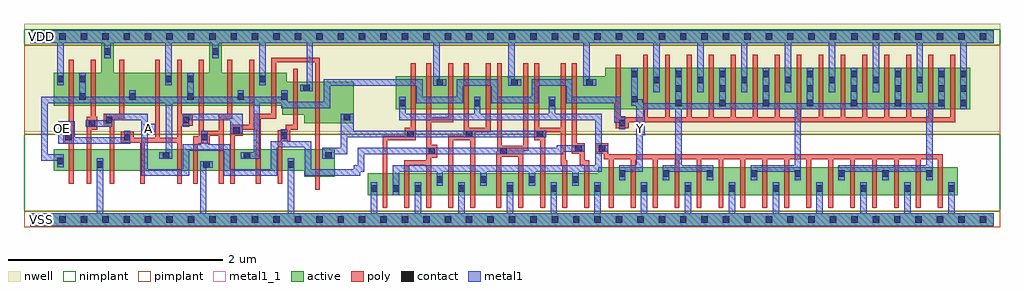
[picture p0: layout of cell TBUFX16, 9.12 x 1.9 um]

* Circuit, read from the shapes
.subckt TBUFX16 A OE VDD VSS Y
M1 n1 OE n2 VSS nfet w=0.205u l=0.045u
M2 VSS A n1 VSS nfet w=0.205u l=0.045u
M3 n3 A VSS VSS nfet w=0.205u l=0.045u
M4 n2 OE n3 VSS nfet w=0.205u l=0.045u
M5 n4 OE n2 VSS nfet w=0.205u l=0.045u
M6 VSS A n4 VSS nfet w=0.205u l=0.045u
M7 n5 A VSS VSS nfet w=0.205u l=0.045u
M8 n2 OE n5 VSS nfet w=0.205u l=0.045u
M9 n6 OE n2 VSS nfet w=0.205u l=0.045u
M10 VSS A n6 VSS nfet w=0.205u l=0.045u
M11 n7 OE VSS VSS nfet w=0.26u l=0.045u
M12 n8 n7 VSS VSS nfet w=0.205u l=0.045u m=5
M13 VSS A n8 VSS nfet w=0.205u l=0.045u m=5
M14 Y n8 VSS VSS nfet w=0.26u l=0.045u m=16
M15 n2 OE VDD VDD pfet w=0.31u l=0.045u m=5
M16 VDD A n2 VDD pfet w=0.31u l=0.045u m=5
M17 n7 OE VDD VDD pfet w=0.39u l=0.045u
M18 n9 n7 n8 VDD pfet w=0.31u l=0.045u
M19 VDD A n9 VDD pfet w=0.31u l=0.045u
M20 n10 A VDD VDD pfet w=0.31u l=0.045u
M21 n8 n7 n10 VDD pfet w=0.31u l=0.045u
M22 n11 n7 n8 VDD pfet w=0.31u l=0.045u
M23 VDD A n11 VDD pfet w=0.31u l=0.045u
M24 n12 A VDD VDD pfet w=0.31u l=0.045u
M25 n8 n7 n12 VDD pfet w=0.31u l=0.045u
M26 n13 n7 n8 VDD pfet w=0.31u l=0.045u
M27 VDD A n13 VDD pfet w=0.31u l=0.045u
M28 Y n2 VDD VDD pfet w=0.39u l=0.045u m=16
.ends

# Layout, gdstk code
import gdstk
lib = gdstk.Library(unit=1e-6, precision=5e-10)
def R(c, l, rs):  # rectangles x0, y0, x1, y1
    for r in rs: c.add(gdstk.rectangle(r[:2], r[2:], *l))
def A(c, l, x, y, w, h, nx, ny, dx, dy):  # array of equal rectangles
    R(c, l, [(x+i*dx, y+j*dy, x+i*dx+w, y+j*dy+h) for i in range(nx) for j in range(ny)])
def P(c, l, *ps):  # polygons
    for p in ps: c.add(gdstk.Polygon(p, *l))
active = (1, 0)
nwell = (2, 0)
poly = (3, 0)
nimplant = (4, 0)
pimplant = (5, 0)
contact = (6, 0)
metal1 = (7, 0)
metal1_1 = (7, 1)

tbufx16 = lib.new_cell('TBUFX16')
R(tbufx16, active, [(0,-0.06,9,0.06)])
P(tbufx16, active, [(0,1.77),(9,1.77),(9,1.65),(1.79,1.65),(1.79,1.375),(2.395,1.375),(2.395,1.29),(3.02,1.29),(3.02,0.9),(2.56,0.9),(2.56,0.98),(2.355,0.98),(2.355,1.065),(0.22,1.065),(0.22,1.375),(0.66,1.375),(0.66,1.65),(0.78,1.65),(0.78,1.375),(1.67,1.375),(1.67,1.65),(0,1.65)],
  [(5.37,1.42),(8.78,1.42),(8.78,1.03),(3.415,1.03),(3.415,1.34),(5.37,1.34)],
  [(0.22,0.66),(2.845,0.66),(2.845,0.4),(2.56,0.4),(2.56,0.455),(0.22,0.455)],
  [(5.305,0.49),(8.665,0.49),(8.665,0.23),(3.15,0.23),(3.15,0.435),(5.305,0.435)])
R(tbufx16, nwell, [(-0.06,0.82,9.06,1.83)])
P(tbufx16, poly, [(0.36,1.495),(0.405,1.495),(0.405,0.335),(0.36,0.335),(0.36,0.71),(0.305,0.71),(0.305,0.83),(0.36,0.83)],
  [(0.565,1.495),(0.61,1.495),(0.61,0.96),(0.625,0.96),(0.625,0.84),(0.57,0.84),(0.57,0.335),(0.525,0.335),(0.525,0.96),(0.565,0.96)],
  [(0.83,1.495),(0.875,1.495),(0.875,0.945),(0.785,0.945),(0.785,0.335),(0.74,0.335),(0.74,0.87),(0.685,0.87),(0.685,0.99),(0.83,0.99)],
  [(0.845,0.82),(0.965,0.82),(0.965,0.765),(1.165,0.765),(1.165,1.495),(1.21,1.495),(1.21,0.765),(1.37,0.765),(1.37,1.495),(1.415,1.495),(1.415,0.98),(1.515,0.98),(1.515,0.88),(1.415,0.88),(1.415,0.335),(1.37,0.335),(1.37,0.72),(1.07,0.72),(1.07,0.335),(1.025,0.335),(1.025,0.72),(0.845,0.72)],
  [(1.575,1.495),(1.62,1.495),(1.62,0.83),(1.76,0.83),(1.76,0.99),(1.84,0.99),(1.84,1.495),(1.885,1.495),(1.885,0.945),(1.805,0.945),(1.805,0.335),(1.76,0.335),(1.76,0.785),(1.675,0.785),(1.675,0.71),(1.565,0.71),(1.565,0.335),(1.52,0.335),(1.52,0.78),(1.575,0.78)],
  [(2.045,1.495),(2.09,1.495),(2.09,0.99),(2.25,0.99),(2.25,1.515),(2.705,1.515),(2.705,0.28),(2.66,0.28),(2.66,1.47),(2.295,1.47),(2.295,0.945),(2.15,0.945),(2.15,0.335),(2.105,0.335),(2.105,0.84),(1.985,0.84),(1.985,0.785),(1.91,0.785),(1.91,0.335),(1.865,0.335),(1.865,0.885),(2.045,0.885)],
  [(2.455,1.41),(2.5,1.41),(2.5,0.84),(2.43,0.84),(2.43,0.735),(2.355,0.735),(2.355,0.335),(2.31,0.335),(2.31,0.835),(2.385,0.835),(2.385,0.885),(2.455,0.885)],
  [(3.555,1.46),(3.6,1.46),(3.6,0.74),(3.335,0.74),(3.335,0.11),(3.29,0.11),(3.29,0.785),(3.5,0.785),(3.5,0.86),(3.555,0.86)],
  [(3.7,1.46),(3.745,1.46),(3.745,0.955),(3.905,0.955),(3.905,1.46),(3.95,1.46),(3.95,0.91),(3.745,0.91),(3.745,0.7),(3.8,0.7),(3.8,0.58),(3.745,0.58),(3.745,0.11),(3.7,0.11),(3.7,0.51),(3.54,0.51),(3.54,0.11),(3.495,0.11),(3.495,0.555),(3.7,0.555)],
  [(4.05,1.46),(4.095,1.46),(4.095,0.86),(4.255,0.86),(4.255,1.46),(4.3,1.46),(4.3,0.815),(4.155,0.815),(4.155,0.11),(4.11,0.11),(4.11,0.74),(3.95,0.74),(3.95,0.11),(3.905,0.11),(3.905,0.785),(4.05,0.785)],
  [(4.36,1.46),(4.405,1.46),(4.405,0.69),(4.605,0.69),(4.605,1.46),(4.65,1.46),(4.65,0.645),(4.605,0.645),(4.605,0.11),(4.56,0.11),(4.56,0.59),(4.4,0.59),(4.4,0.11),(4.355,0.11),(4.355,0.635),(4.36,0.635)],
  [(4.71,1.46),(4.755,1.46),(4.755,0.86),(4.955,0.86),(4.955,1.46),(5,1.46),(5,0.555),(5.015,0.555),(5.015,0.11),(4.97,0.11),(4.97,0.51),(4.955,0.51),(4.955,0.815),(4.81,0.815),(4.81,0.11),(4.765,0.11),(4.765,0.74),(4.71,0.74)],
  [(5.06,1.46),(5.105,1.46),(5.105,0.715),(5.18,0.715),(5.18,0.555),(5.22,0.555),(5.22,0.11),(5.175,0.11),(5.175,0.51),(5.135,0.51),(5.135,0.615),(5.06,0.615)],
  [(5.47,1.54),(5.515,1.54),(5.515,0.955),(5.725,0.955),(5.725,1.54),(5.77,1.54),(5.77,0.955),(5.93,0.955),(5.93,1.54),(5.975,1.54),(5.975,0.955),(6.135,0.955),(6.135,1.54),(6.18,1.54),(6.18,0.955),(6.34,0.955),(6.34,1.54),(6.385,1.54),(6.385,0.955),(6.545,0.955),(6.545,1.54),(6.59,1.54),(6.59,0.955),(6.75,0.955),(6.75,1.54),(6.795,1.54),(6.795,0.955),(6.955,0.955),(6.955,1.54),(7,1.54),(7,0.955),(7.16,0.955),(7.16,1.54),(7.205,1.54),(7.205,0.955),(7.365,0.955),(7.365,1.54),(7.41,1.54),(7.41,0.955),(7.57,0.955),(7.57,1.54),(7.615,1.54),(7.615,0.955),(7.775,0.955),(7.775,1.54),(7.82,1.54),(7.82,0.955),(7.98,0.955),(7.98,1.54),(8.025,1.54),(8.025,0.955),(8.185,0.955),(8.185,1.54),(8.23,1.54),(8.23,0.955),(8.39,0.955),(8.39,1.54),(8.435,1.54),(8.435,0.955),(8.595,0.955),(8.595,1.54),(8.64,1.54),(8.64,0.91),(5.59,0.91),(5.59,0.855),(5.47,0.855)],
  [(5.28,0.715),(5.4,0.715),(5.4,0.61),(8.525,0.61),(8.525,0.11),(8.48,0.11),(8.48,0.565),(8.32,0.565),(8.32,0.11),(8.275,0.11),(8.275,0.565),(8.115,0.565),(8.115,0.11),(8.07,0.11),(8.07,0.565),(7.91,0.565),(7.91,0.11),(7.865,0.11),(7.865,0.565),(7.705,0.565),(7.705,0.11),(7.66,0.11),(7.66,0.565),(7.5,0.565),(7.5,0.11),(7.455,0.11),(7.455,0.565),(7.295,0.565),(7.295,0.11),(7.25,0.11),(7.25,0.565),(7.09,0.565),(7.09,0.11),(7.045,0.11),(7.045,0.565),(6.885,0.565),(6.885,0.11),(6.84,0.11),(6.84,0.565),(6.68,0.565),(6.68,0.11),(6.635,0.11),(6.635,0.565),(6.475,0.565),(6.475,0.11),(6.43,0.11),(6.43,0.565),(6.27,0.565),(6.27,0.11),(6.225,0.11),(6.225,0.565),(6.065,0.565),(6.065,0.11),(6.02,0.11),(6.02,0.565),(5.86,0.565),(5.86,0.11),(5.815,0.11),(5.815,0.565),(5.655,0.565),(5.655,0.11),(5.61,0.11),(5.61,0.565),(5.45,0.565),(5.45,0.11),(5.405,0.11),(5.405,0.565),(5.355,0.565),(5.355,0.615),(5.28,0.615)])
R(tbufx16, nimplant, [(-0.06,0.08,9.06,0.8), (-0.06,1.63,9.06,1.78)])
R(tbufx16, pimplant, [(-0.06,-0.07,9.06,0.08), (-0.06,0.8,9.06,1.63)])
A(tbufx16, contact, 0.07, -0.03, 0.06, 0.06, 45, 2, 0.2, 1.71)
A(tbufx16, contact, 3.18, 0.26, 0.06, 0.06, 3, 1, 0.205, 0)
A(tbufx16, contact, 4.45, 0.26, 0.06, 0.06, 3, 1, 0.41, 0)
A(tbufx16, contact, 5.705, 0.26, 0.06, 0.06, 8, 1, 0.41, 0)
A(tbufx16, contact, 5.5, 0.4, 0.06, 0.06, 8, 1, 0.41, 0)
A(tbufx16, contact, 1.235, 0.57, 0.06, 0.06, 3, 1, 0.76, 0)
A(tbufx16, contact, 3.445, 1.06, 0.06, 0.06, 3, 1, 0.7, 0)
A(tbufx16, contact, 6.025, 1.06, 0.06, 0.06, 7, 2, 0.41, 0.135)
A(tbufx16, contact, 8.69, 1.06, 0.06, 0.06, 1, 3, 0, 0.135)
A(tbufx16, contact, 3.795, 1.25, 0.06, 0.06, 3, 1, 0.7, 0)
A(tbufx16, contact, 5.82, 1.275, 0.06, 0.06, 7, 1, 0.41, 0)
A(tbufx16, contact, 5.615, 1.33, 0.06, 0.06, 8, 1, 0.41, 0)
R(tbufx16, contact, [(4,0.26,4.06,0.32), (3.795,0.345,3.855,0.405), (4.205,0.345,4.265,0.405), (4.655,0.345,4.715,0.405), (5.065,0.345,5.125,0.405), (0.62,0.485,0.68,0.545), (1.615,0.485,1.675,0.545), (2.405,0.485,2.465,0.545), (0.25,0.52,0.31,0.58), (3.72,0.61,3.78,0.67), (4.39,0.61,4.45,0.67), (5.09,0.635,5.15,0.695), (5.31,0.635,5.37,0.695), (0.325,0.74,0.385,0.8), (0.875,0.74,0.935,0.8), (1.595,0.74,1.655,0.8), (2.34,0.755,2.4,0.815), (3.52,0.77,3.58,0.83), (4.07,0.77,4.13,0.83), (4.73,0.77,4.79,0.83), (1.895,0.805,1.955,0.865), (0.545,0.87,0.605,0.93), (5.5,0.875,5.56,0.935), (0.705,0.9,0.765,0.96), (1.425,0.9,1.485,0.96), (2.93,0.93,2.99,0.99), (5.615,1.095,5.675,1.155), (0.455,1.12,0.515,1.18), (0.925,1.12,0.985,1.18), (1.465,1.12,1.525,1.18), (1.935,1.12,1.995,1.18), (2.345,1.12,2.405,1.18), (2.55,1.2,2.61,1.26), (0.25,1.285,0.31,1.345), (0.455,1.285,0.515,1.345), (1.26,1.285,1.32,1.345), (1.465,1.285,1.525,1.345), (2.14,1.285,2.2,1.345), (0.69,1.54,0.75,1.6), (1.7,1.54,1.76,1.6)])
P(tbufx16, metal1, [(0,1.77),(9,1.77),(9,1.65),(8.75,1.65),(8.75,1.03),(8.69,1.03),(8.69,1.65),(8.34,1.65),(8.34,1.19),(8.28,1.19),(8.28,1.65),(7.93,1.65),(7.93,1.19),(7.87,1.19),(7.87,1.65),(7.52,1.65),(7.52,1.19),(7.46,1.19),(7.46,1.65),(7.11,1.65),(7.11,1.19),(7.05,1.19),(7.05,1.65),(6.7,1.65),(6.7,1.19),(6.64,1.19),(6.64,1.65),(6.29,1.65),(6.29,1.19),(6.23,1.19),(6.23,1.65),(5.88,1.65),(5.88,1.19),(5.82,1.19),(5.82,1.65),(5.225,1.65),(5.225,1.31),(5.285,1.31),(5.285,1.25),(5.165,1.25),(5.165,1.65),(4.525,1.65),(4.525,1.31),(4.585,1.31),(4.585,1.25),(4.465,1.25),(4.465,1.65),(3.825,1.65),(3.825,1.31),(3.885,1.31),(3.885,1.25),(3.765,1.25),(3.765,1.65),(2.64,1.65),(2.64,1.2),(2.52,1.2),(2.52,1.26),(2.58,1.26),(2.58,1.65),(2.2,1.65),(2.2,1.255),(2.14,1.255),(2.14,1.65),(1.76,1.65),(1.76,1.51),(1.7,1.51),(1.7,1.65),(1.32,1.65),(1.32,1.255),(1.26,1.255),(1.26,1.65),(0.75,1.65),(0.75,1.51),(0.69,1.51),(0.69,1.65),(0.31,1.65),(0.31,1.255),(0.25,1.255),(0.25,1.65),(0,1.65)],
  [(0.455,1.375),(0.515,1.375),(0.515,1.15),(0.925,1.15),(0.925,1.21),(0.985,1.21),(0.985,1.15),(1.465,1.15),(1.465,1.375),(1.525,1.375),(1.525,1.15),(1.935,1.15),(1.935,1.21),(1.995,1.21),(1.995,1.15),(2.345,1.15),(2.345,1.21),(2.405,1.21),(2.405,1.1),(2.74,1.1),(2.74,1.31),(3.665,1.31),(3.665,1.15),(3.985,1.15),(3.985,1.31),(4.365,1.31),(4.365,1.15),(4.685,1.15),(4.685,1.31),(5.065,1.31),(5.065,1.15),(5.515,1.15),(5.515,0.965),(5.56,0.965),(5.56,0.845),(5.5,0.845),(5.5,0.905),(5.455,0.905),(5.455,1.09),(5.005,1.09),(5.005,1.25),(4.745,1.25),(4.745,1.09),(4.305,1.09),(4.305,1.25),(4.045,1.25),(4.045,1.09),(3.605,1.09),(3.605,1.25),(2.8,1.25),(2.8,1.04),(2.345,1.04),(2.345,1.09),(2.145,1.09),(2.145,0.57),(1.965,0.57),(1.965,0.63),(2.085,0.63),(2.085,1.09),(1.325,1.09),(1.325,0.57),(1.205,0.57),(1.205,0.63),(1.265,0.63),(1.265,1.09),(0.16,1.09),(0.16,0.61),(0.31,0.61),(0.31,0.49),(0.25,0.49),(0.25,0.55),(0.1,0.55),(0.1,1.15),(0.455,1.15)],
  [(0.705,0.99),(1.095,0.99),(1.095,0.895),(1.165,0.895),(1.165,0.815),(1.095,0.815),(1.095,0.47),(1.425,0.47),(1.425,0.705),(1.595,0.705),(1.595,0.83),(1.655,0.83),(1.655,0.705),(1.865,0.705),(1.865,0.47),(2.245,0.47),(2.245,0.735),(2.34,0.735),(2.34,0.845),(2.4,0.845),(2.4,0.735),(2.625,0.735),(2.625,0.47),(3.02,0.47),(3.02,0.51),(3.06,0.51),(3.06,0.67),(4.92,0.67),(4.92,0.695),(5.18,0.695),(5.18,0.635),(4.98,0.635),(4.98,0.61),(3.12,0.61),(3.12,0.45),(3.08,0.45),(3.08,0.41),(2.565,0.41),(2.565,0.675),(2.305,0.675),(2.305,0.41),(1.805,0.41),(1.805,0.645),(1.485,0.645),(1.485,0.41),(1.035,0.41),(1.035,0.93),(0.765,0.93),(0.765,0.87),(0.515,0.87),(0.515,0.93),(0.705,0.93)],
  [(0.26,0.92),(0.415,0.92),(0.415,0.77),(0.875,0.77),(0.875,0.83),(0.935,0.83),(0.935,0.71),(0.26,0.71)],
  [(0.62,0.575),(0.68,0.575),(0.68,0.06),(1.585,0.06),(1.585,0.545),(1.705,0.545),(1.705,0.485),(1.645,0.485),(1.645,0.06),(2.405,0.06),(2.405,0.575),(2.465,0.575),(2.465,0.06),(3.18,0.06),(3.18,0.35),(3.24,0.35),(3.24,0.06),(3.59,0.06),(3.59,0.35),(3.65,0.35),(3.65,0.06),(4,0.06),(4,0.35),(4.06,0.35),(4.06,0.06),(4.45,0.06),(4.45,0.35),(4.51,0.35),(4.51,0.06),(4.86,0.06),(4.86,0.35),(4.92,0.35),(4.92,0.06),(5.27,0.06),(5.27,0.35),(5.33,0.35),(5.33,0.06),(5.705,0.06),(5.705,0.35),(5.765,0.35),(5.765,0.06),(6.115,0.06),(6.115,0.35),(6.175,0.35),(6.175,0.06),(6.525,0.06),(6.525,0.35),(6.585,0.35),(6.585,0.06),(6.935,0.06),(6.935,0.35),(6.995,0.35),(6.995,0.06),(7.345,0.06),(7.345,0.35),(7.405,0.35),(7.405,0.06),(7.755,0.06),(7.755,0.35),(7.815,0.35),(7.815,0.06),(8.165,0.06),(8.165,0.35),(8.225,0.35),(8.225,0.06),(8.575,0.06),(8.575,0.35),(8.635,0.35),(8.635,0.06),(9,0.06),(9,-0.06),(0,-0.06),(0,0.06),(0.62,0.06)],
  [(1.425,0.99),(1.985,0.99),(1.985,0.805),(1.865,0.805),(1.865,0.93),(1.485,0.93),(1.485,0.87),(1.425,0.87)],
  [(2.9,0.99),(3.02,0.99),(3.02,0.83),(4.82,0.83),(4.82,0.77),(2.96,0.77),(2.96,0.61),(2.845,0.61),(2.845,0.57),(2.725,0.57),(2.725,0.67),(2.9,0.67)],
  [(3.445,1.15),(3.505,1.15),(3.505,0.99),(4.145,0.99),(4.145,1.15),(4.205,1.15),(4.205,0.99),(4.845,0.99),(4.845,1.15),(4.905,1.15),(4.905,0.99),(5.34,0.99),(5.34,0.695),(5.4,0.695),(5.4,0.635),(5.34,0.635),(5.34,0.45),(5.125,0.45),(5.125,0.315),(5.065,0.315),(5.065,0.45),(4.715,0.45),(4.715,0.315),(4.655,0.315),(4.655,0.45),(4.265,0.45),(4.265,0.315),(4.205,0.315),(4.205,0.45),(3.855,0.45),(3.855,0.315),(3.795,0.315),(3.795,0.45),(3.445,0.45),(3.445,0.23),(3.385,0.23),(3.385,0.51),(5.28,0.51),(5.28,0.93),(3.445,0.93)],
  [(5.615,1.42),(5.675,1.42),(5.675,1.125),(5.72,1.125),(5.72,1.09),(6.025,1.09),(6.025,1.42),(6.085,1.42),(6.085,1.09),(6.435,1.09),(6.435,1.42),(6.495,1.42),(6.495,1.09),(6.845,1.09),(6.845,1.42),(6.905,1.42),(6.905,1.09),(7.255,1.09),(7.255,1.42),(7.315,1.42),(7.315,1.09),(7.665,1.09),(7.665,1.42),(7.725,1.42),(7.725,1.09),(8.075,1.09),(8.075,1.42),(8.135,1.42),(8.135,1.09),(8.485,1.09),(8.485,1.42),(8.545,1.42),(8.545,1.03),(8.43,1.03),(8.43,0.37),(8.37,0.37),(8.37,0.45),(8.02,0.45),(8.02,0.37),(7.96,0.37),(7.96,0.45),(7.61,0.45),(7.61,0.37),(7.55,0.37),(7.55,0.51),(8.37,0.51),(8.37,1.03),(7.2,1.03),(7.2,0.37),(7.14,0.37),(7.14,0.45),(6.79,0.45),(6.79,0.37),(6.73,0.37),(6.73,0.51),(7.14,0.51),(7.14,1.03),(6.085,1.03),(6.085,0.51),(6.38,0.51),(6.38,0.37),(6.32,0.37),(6.32,0.45),(5.97,0.45),(5.97,0.37),(5.91,0.37),(5.91,0.51),(6.025,0.51),(6.025,1.03),(5.74,1.03),(5.74,0.79),(5.72,0.79),(5.72,0.45),(5.56,0.45),(5.56,0.37),(5.5,0.37),(5.5,0.51),(5.66,0.51),(5.66,1.065),(5.615,1.065)])
R(tbufx16, metal1_1, [(0.06,-0.04,0.14,0.04), (0.26,0.815,0.34,0.895), (1.06,0.815,1.14,0.895), (5.66,0.815,5.74,0.895), (0.06,1.67,0.14,1.75)])
tbufx16.add(gdstk.Label('Y', (5.7,0.855), layer=7, texttype=1))
tbufx16.add(gdstk.Label('A', (1.1,0.855), layer=7, texttype=1))
tbufx16.add(gdstk.Label('OE', (0.3,0.855), layer=7, texttype=1))
tbufx16.add(gdstk.Label('VDD', (0.1,1.71), layer=7, texttype=1))
tbufx16.add(gdstk.Label('VSS', (0.1,0), layer=7, texttype=1))
tbufx16.add(gdstk.Label('TBUFX16', (0,0), layer=63, texttype=0))

lib.write_gds('TBUFX16.gds')
